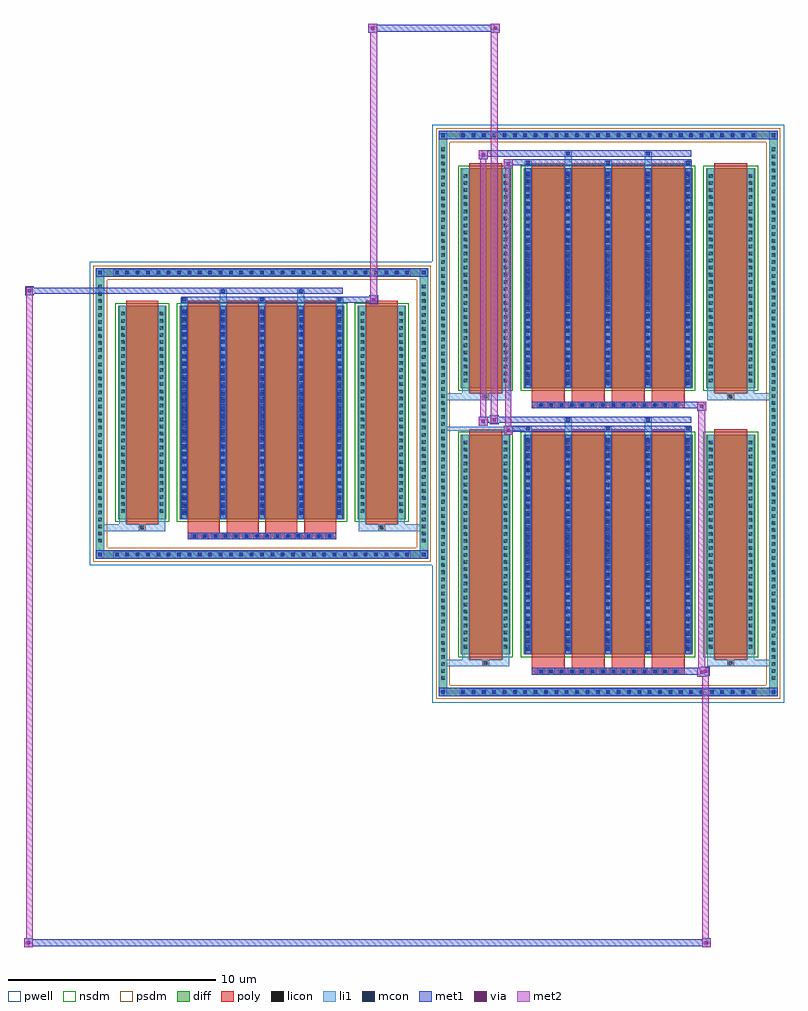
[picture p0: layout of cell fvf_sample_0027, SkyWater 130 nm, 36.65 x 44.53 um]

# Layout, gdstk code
import gdstk
lib = gdstk.Library(unit=1e-6, precision=1e-09)
def R(c, l, rs):  # rectangles x0, y0, x1, y1
    for r in rs: c.add(gdstk.rectangle(r[:2], r[2:], *l))
def A(c, l, x, y, w, h, nx, ny, dx, dy):  # array of equal rectangles
    R(c, l, [(x+i*dx, y+j*dy, x+i*dx+w, y+j*dy+h) for i in range(nx) for j in range(ny)])
def P(c, l, *ps):  # polygons
    for p in ps: c.add(gdstk.Polygon(p, *l))
pwell = (64, 44)
diff = (65, 20)
poly = (66, 20)
licon = (66, 44)
li1 = (67, 20)
mcon = (67, 44)
met1 = (68, 20)
via = (68, 44)
met2 = (69, 20)
nsdm = (93, 44)
psdm = (94, 20)

fvf_sample_0027 = lib.new_cell('fvf_sample_0027')
R(fvf_sample_0027, pwell, [(8.217,-13.94,25.175,13.94), (-8.317,-7.318,8.317,7.318)])
A(fvf_sample_0027, diff, 9.491, -13.63, 0.41, 0.41, 29, 2, 0.5, 26.85)
A(fvf_sample_0027, diff, 8.527, -12.955, 0.41, 0.41, 1, 76, 0, 0.34)
A(fvf_sample_0027, diff, 24.455, -12.955, 0.41, 0.41, 1, 76, 0, 0.34)
A(fvf_sample_0027, diff, -7.205, -7.008, 0.41, 0.41, 29, 2, 0.5, 13.606)
A(fvf_sample_0027, diff, -8.007, -6.325, 0.41, 0.41, 1, 37, 0, 0.34)
A(fvf_sample_0027, diff, 7.597, -6.325, 0.41, 0.41, 1, 37, 0, 0.34)
R(fvf_sample_0027, diff, [(9.491,-13.63,23.901,-13.22), (8.527,-12.955,8.937,12.955), (24.455,-12.955,24.865,12.955), (9.597,-11.609,11.975,-1.015), (12.615,-11.609,20.777,-1.015), (21.417,-11.609,23.795,-1.015), (-7.205,-7.008,7.205,-6.598), (-8.007,-6.325,-7.597,6.325), (7.597,-6.325,8.007,6.325), (-6.937,-5.087,-4.613,5.203), (-3.973,-5.087,3.973,5.203), (4.613,-5.087,6.937,5.203), (9.597,1.231,11.975,11.825), (12.615,1.231,20.777,11.825), (21.417,1.231,23.795,11.825), (-7.205,6.598,7.205,7.008), (9.491,13.22,23.901,13.63)])
P(fvf_sample_0027, diff, [(8.007,7.008),(-8.007,7.008),(-8.007,-6.598),(-7.597,-6.598),(-7.597,6.598),(7.597,6.598),(7.597,-6.598),(-7.597,-6.598),(-8.007,-6.598),(-8.007,-7.008),(8.007,-7.008)],
  [(24.865,13.63),(8.527,13.63),(8.527,-13.22),(8.937,-13.22),(8.937,13.22),(24.455,13.22),(24.455,-13.22),(8.937,-13.22),(8.527,-13.22),(8.527,-13.63),(24.865,-13.63)])
A(fvf_sample_0027, poly, 13.281, -12.59, 0.33, 0.33, 14, 2, 0.5, 12.84)
A(fvf_sample_0027, poly, 13.005, -12.26, 1.598, 0.401, 4, 2, 1.928, 12.84)
A(fvf_sample_0027, poly, 13.005, -11.859, 1.598, 11.094, 4, 2, 1.928, 12.84)
A(fvf_sample_0027, poly, -3.415, -6.068, 0.33, 0.33, 14, 1, 0.5, 0)
A(fvf_sample_0027, poly, -3.583, -5.738, 1.544, 0.401, 4, 1, 1.874, 0)
A(fvf_sample_0027, poly, -3.583, -5.337, 1.544, 10.79, 4, 1, 1.874, 0)
R(fvf_sample_0027, poly, [(13.005,-12.59,20.387,-12.26), (10.621,-12.189,10.951,-11.859), (10.621,-12.189,10.951,-11.859), (22.441,-12.189,22.771,-11.859), (22.441,-12.189,22.771,-11.859), (9.987,-11.859,11.585,-0.765), (21.807,-11.859,23.405,-0.765), (-3.583,-6.068,3.583,-5.738), (-5.94,-5.667,-5.61,-5.337), (-5.94,-5.667,-5.61,-5.337), (5.61,-5.667,5.94,-5.337), (5.61,-5.667,5.94,-5.337), (-6.547,-5.337,-5.003,5.453), (5.003,-5.337,6.547,5.453), (13.005,0.25,20.387,0.58), (10.621,0.651,10.951,0.981), (10.621,0.651,10.951,0.981), (22.441,0.651,22.771,0.981), (22.441,0.651,22.771,0.981), (9.987,0.981,11.585,12.075), (21.807,0.981,23.405,12.075)])
A(fvf_sample_0027, licon, 9.611, -13.51, 0.17, 0.17, 29, 2, 0.5, 26.85)
A(fvf_sample_0027, licon, 8.647, -12.835, 0.17, 0.17, 1, 76, 0, 0.34)
A(fvf_sample_0027, licon, 24.575, -12.835, 0.17, 0.17, 1, 76, 0, 0.34)
A(fvf_sample_0027, licon, 13.361, -12.51, 0.17, 0.17, 14, 2, 0.5, 12.84)
A(fvf_sample_0027, licon, 9.737, -11.327, 0.17, 0.17, 1, 30, 0, 0.34)
A(fvf_sample_0027, licon, 11.665, -11.327, 0.17, 0.17, 1, 30, 0, 0.34)
A(fvf_sample_0027, licon, 12.755, -11.327, 0.17, 0.17, 5, 30, 1.928, 0.34)
A(fvf_sample_0027, licon, 21.557, -11.327, 0.17, 0.17, 1, 30, 0, 0.34)
A(fvf_sample_0027, licon, 23.485, -11.327, 0.17, 0.17, 1, 30, 0, 0.34)
A(fvf_sample_0027, licon, -7.085, -6.888, 0.17, 0.17, 29, 2, 0.5, 13.606)
A(fvf_sample_0027, licon, -7.887, -6.205, 0.17, 0.17, 1, 37, 0, 0.34)
A(fvf_sample_0027, licon, 7.717, -6.205, 0.17, 0.17, 1, 37, 0, 0.34)
A(fvf_sample_0027, licon, -3.335, -5.988, 0.17, 0.17, 14, 1, 0.5, 0)
A(fvf_sample_0027, licon, -6.797, -4.787, 0.17, 0.17, 1, 29, 0, 0.34)
A(fvf_sample_0027, licon, -4.923, -4.787, 0.17, 0.17, 1, 29, 0, 0.34)
A(fvf_sample_0027, licon, -3.833, -4.787, 0.17, 0.17, 5, 29, 1.874, 0.34)
A(fvf_sample_0027, licon, 4.753, -4.787, 0.17, 0.17, 1, 29, 0, 0.34)
A(fvf_sample_0027, licon, 6.627, -4.787, 0.17, 0.17, 1, 29, 0, 0.34)
A(fvf_sample_0027, licon, 9.737, 1.513, 0.17, 0.17, 1, 30, 0, 0.34)
A(fvf_sample_0027, licon, 11.665, 1.513, 0.17, 0.17, 1, 30, 0, 0.34)
A(fvf_sample_0027, licon, 12.755, 1.513, 0.17, 0.17, 5, 30, 1.928, 0.34)
A(fvf_sample_0027, licon, 21.557, 1.513, 0.17, 0.17, 1, 30, 0, 0.34)
A(fvf_sample_0027, licon, 23.485, 1.513, 0.17, 0.17, 1, 30, 0, 0.34)
R(fvf_sample_0027, licon, [(10.701,-12.109,10.871,-11.939), (22.521,-12.109,22.691,-11.939), (-5.86,-5.587,-5.69,-5.417), (5.69,-5.587,5.86,-5.417), (10.701,0.731,10.871,0.901), (22.521,0.731,22.691,0.901)])
A(fvf_sample_0027, li1, 9.531, -13.59, 0.33, 0.33, 29, 2, 0.5, 26.85)
A(fvf_sample_0027, li1, 8.567, -12.915, 0.33, 0.33, 1, 76, 0, 0.34)
A(fvf_sample_0027, li1, 24.495, -12.915, 0.33, 0.33, 1, 76, 0, 0.34)
A(fvf_sample_0027, li1, 13.281, -12.59, 0.33, 0.33, 14, 2, 0.5, 12.84)
A(fvf_sample_0027, li1, 12.675, -11.609, 0.33, 10.594, 5, 2, 1.928, 12.84)
A(fvf_sample_0027, li1, 12.755, -11.437, 0.17, 0.17, 5, 29, 1.928, 0.36)
A(fvf_sample_0027, li1, 12.755, -11.437, 0.17, 10.25, 5, 2, 1.928, 12.84)
A(fvf_sample_0027, li1, 9.657, -11.407, 0.33, 0.33, 1, 30, 0, 0.34)
A(fvf_sample_0027, li1, 11.585, -11.407, 0.33, 0.33, 1, 30, 0, 0.34)
A(fvf_sample_0027, li1, 12.675, -11.407, 0.33, 0.33, 5, 30, 1.928, 0.34)
A(fvf_sample_0027, li1, 21.477, -11.407, 0.33, 0.33, 1, 30, 0, 0.34)
A(fvf_sample_0027, li1, 23.405, -11.407, 0.33, 0.33, 1, 30, 0, 0.34)
A(fvf_sample_0027, li1, -7.165, -6.968, 0.33, 0.33, 29, 2, 0.5, 13.606)
A(fvf_sample_0027, li1, -7.967, -6.285, 0.33, 0.33, 1, 37, 0, 0.34)
A(fvf_sample_0027, li1, 7.637, -6.285, 0.33, 0.33, 1, 37, 0, 0.34)
A(fvf_sample_0027, li1, -3.415, -6.068, 0.33, 0.33, 14, 1, 0.5, 0)
A(fvf_sample_0027, li1, -3.913, -5.087, 0.33, 10.29, 5, 1, 1.874, 0)
A(fvf_sample_0027, li1, -3.833, -4.887, 0.17, 0.17, 5, 28, 1.874, 0.36)
A(fvf_sample_0027, li1, -3.833, -4.887, 0.17, 9.89, 5, 1, 1.874, 0)
A(fvf_sample_0027, li1, -6.877, -4.867, 0.33, 0.33, 1, 29, 0, 0.34)
A(fvf_sample_0027, li1, -5.003, -4.867, 0.33, 0.33, 1, 29, 0, 0.34)
A(fvf_sample_0027, li1, -3.913, -4.867, 0.33, 0.33, 5, 29, 1.874, 0.34)
A(fvf_sample_0027, li1, 4.673, -4.867, 0.33, 0.33, 1, 29, 0, 0.34)
A(fvf_sample_0027, li1, 6.547, -4.867, 0.33, 0.33, 1, 29, 0, 0.34)
A(fvf_sample_0027, li1, 12.675, -1.015, 0.33, 0.375, 3, 2, 3.856, 12.84)
A(fvf_sample_0027, li1, 12.755, -0.81, 0.17, 0.17, 3, 2, 3.856, 12.84)
A(fvf_sample_0027, li1, 12.755, 1.403, 0.17, 0.17, 5, 29, 1.928, 0.36)
A(fvf_sample_0027, li1, 9.657, 1.433, 0.33, 0.33, 1, 30, 0, 0.34)
A(fvf_sample_0027, li1, 11.585, 1.433, 0.33, 0.33, 1, 30, 0, 0.34)
A(fvf_sample_0027, li1, 12.675, 1.433, 0.33, 0.33, 5, 30, 1.928, 0.34)
A(fvf_sample_0027, li1, 21.477, 1.433, 0.33, 0.33, 1, 30, 0, 0.34)
A(fvf_sample_0027, li1, 23.405, 1.433, 0.33, 0.33, 1, 30, 0, 0.34)
A(fvf_sample_0027, li1, -3.913, 5.203, 0.33, 0.375, 3, 1, 3.748, 0)
A(fvf_sample_0027, li1, -3.833, 5.408, 0.17, 0.17, 3, 1, 3.748, 0)
R(fvf_sample_0027, li1, [(8.527,-13.63,8.937,-13.22), (24.455,-13.63,24.865,-13.22), (9.531,-13.59,23.861,-13.26), (8.647,-13.51,8.817,-13.34), (8.647,-13.51,8.817,-13.34), (24.575,-13.51,24.745,-13.34), (24.575,-13.51,24.745,-13.34), (8.527,-13.22,8.937,13.22), (24.455,-13.22,24.865,13.22), (8.527,-12.189,10.621,-11.859), (9.657,-12.189,9.987,-11.609), (9.657,-12.189,10.621,-11.859), (10.621,-12.189,10.951,-11.859), (10.951,-12.189,11.915,-11.859), (11.585,-12.189,11.915,-11.609), (21.477,-12.189,21.807,-11.609), (21.477,-12.189,22.441,-11.859), (22.441,-12.189,22.771,-11.859), (22.441,-12.189,24.865,-11.859), (22.771,-12.189,23.735,-11.859), (23.405,-12.189,23.735,-11.609), (9.657,-11.609,9.987,-1.015), (11.585,-11.609,11.915,-1.015), (21.477,-11.609,21.807,-1.015), (23.405,-11.609,23.735,-1.015), (-8.007,-7.008,-7.597,-6.598), (7.597,-7.008,8.007,-6.598), (-7.165,-6.968,7.165,-6.638), (-7.887,-6.888,-7.717,-6.718), (-7.887,-6.888,-7.717,-6.718), (7.717,-6.888,7.887,-6.718), (7.717,-6.888,7.887,-6.718), (-8.007,-6.598,-7.597,6.598), (7.597,-6.598,8.007,6.598), (-8.007,-5.667,-5.94,-5.337), (-6.877,-5.667,-5.94,-5.337), (-6.877,-5.667,-6.547,-5.087), (-5.94,-5.667,-5.61,-5.337), (-5.61,-5.667,-4.673,-5.337), (-5.003,-5.667,-4.673,-5.087), (4.673,-5.667,5.61,-5.337), (4.673,-5.667,5.003,-5.087), (5.61,-5.667,5.94,-5.337), (5.61,-5.667,8.007,-5.337), (5.94,-5.667,6.877,-5.337), (6.547,-5.667,6.877,-5.087), (-6.877,-5.087,-6.547,5.203), (-5.003,-5.087,-4.673,5.203), (4.673,-5.087,5.003,5.203), (6.547,-5.087,6.877,5.203), (14.603,-1.015,14.933,-0.21), (18.459,-1.015,18.789,-0.21), (12.695,-0.87,12.985,-0.58), (8.527,-0.825,12.695,-0.625), (12.755,-0.81,12.925,-0.64), (14.683,-0.38,14.853,-0.21), (18.539,-0.38,18.709,-0.21), (8.527,0.651,10.621,0.981), (9.657,0.651,9.987,1.231), (9.657,0.651,10.621,0.981), (10.621,0.651,10.951,0.981), (10.951,0.651,11.915,0.981), (11.585,0.651,11.915,1.231), (21.477,0.651,21.807,1.231), (21.477,0.651,22.441,0.981), (22.441,0.651,22.771,0.981), (22.441,0.651,24.865,0.981), (22.771,0.651,23.735,0.981), (23.405,0.651,23.735,1.231), (9.657,1.231,9.987,11.825), (11.585,1.231,11.915,11.825), (21.477,1.231,21.807,11.825), (23.405,1.231,23.735,11.825), (-2.039,5.203,-1.709,6.008), (1.709,5.203,2.039,6.008), (-1.959,5.838,-1.789,6.008), (1.789,5.838,1.959,6.008), (-8.007,6.598,-7.597,7.008), (7.597,6.598,8.007,7.008), (-7.165,6.638,7.165,6.968), (-7.887,6.718,-7.717,6.888), (-7.887,6.718,-7.717,6.888), (7.717,6.718,7.887,6.888), (7.717,6.718,7.887,6.888), (14.603,11.825,14.933,12.63), (18.459,11.825,18.789,12.63), (14.683,12.46,14.853,12.63), (18.539,12.46,18.709,12.63), (8.527,13.22,8.937,13.63), (24.455,13.22,24.865,13.63), (9.531,13.26,23.861,13.59), (8.647,13.34,8.817,13.51), (8.647,13.34,8.817,13.51), (24.575,13.34,24.745,13.51), (24.575,13.34,24.745,13.51)])
A(fvf_sample_0027, mcon, 9.611, -13.51, 0.17, 0.17, 29, 2, 0.5, 26.85)
A(fvf_sample_0027, mcon, 13.361, -12.51, 0.17, 0.17, 14, 2, 0.5, 12.84)
A(fvf_sample_0027, mcon, 12.755, -11.437, 0.17, 0.17, 5, 29, 1.928, 0.36)
A(fvf_sample_0027, mcon, -7.085, -6.888, 0.17, 0.17, 29, 2, 0.5, 13.606)
A(fvf_sample_0027, mcon, -3.335, -5.988, 0.17, 0.17, 14, 1, 0.5, 0)
A(fvf_sample_0027, mcon, -3.833, -4.887, 0.17, 0.17, 5, 28, 1.874, 0.36)
A(fvf_sample_0027, mcon, 12.755, -0.81, 0.17, 0.17, 3, 2, 3.856, 12.84)
A(fvf_sample_0027, mcon, 12.755, 1.403, 0.17, 0.17, 5, 29, 1.928, 0.36)
A(fvf_sample_0027, mcon, -3.833, 5.408, 0.17, 0.17, 3, 1, 3.748, 0)
R(fvf_sample_0027, mcon, [(8.647,-13.51,8.817,-13.34), (24.575,-13.51,24.745,-13.34), (-7.887,-6.888,-7.717,-6.718), (7.717,-6.888,7.887,-6.718), (12.755,-0.81,12.925,-0.64), (14.683,-0.38,14.853,-0.21), (18.539,-0.38,18.709,-0.21), (-1.959,5.838,-1.789,6.008), (1.789,5.838,1.959,6.008), (-7.887,6.718,-7.717,6.888), (7.717,6.718,7.887,6.888), (14.683,12.46,14.853,12.63), (18.539,12.46,18.709,12.63), (8.647,13.34,8.817,13.51), (24.575,13.34,24.745,13.51)])
A(fvf_sample_0027, met1, 9.551, -13.57, 0.29, 0.29, 29, 2, 0.5, 26.85)
A(fvf_sample_0027, met1, 13.301, -12.57, 0.29, 0.29, 14, 2, 0.5, 12.84)
A(fvf_sample_0027, met1, 12.695, -11.609, 0.29, 10.594, 5, 2, 1.928, 12.84)
A(fvf_sample_0027, met1, 12.695, -11.497, 0.29, 0.29, 5, 29, 1.928, 0.36)
A(fvf_sample_0027, met1, -7.145, -6.948, 0.29, 0.29, 29, 2, 0.5, 13.606)
A(fvf_sample_0027, met1, -3.395, -6.048, 0.29, 0.29, 14, 1, 0.5, 0)
A(fvf_sample_0027, met1, -3.893, -5.087, 0.29, 10.29, 5, 1, 1.874, 0)
A(fvf_sample_0027, met1, -3.893, -4.947, 0.29, 0.29, 5, 28, 1.874, 0.36)
A(fvf_sample_0027, met1, 12.695, -0.87, 0.29, 0.29, 3, 2, 3.856, 12.84)
A(fvf_sample_0027, met1, 12.695, 1.343, 0.29, 0.29, 5, 29, 1.928, 0.36)
A(fvf_sample_0027, met1, -3.893, 5.348, 0.29, 0.29, 3, 1, 3.748, 0)
R(fvf_sample_0027, met1, [(-11.476,-25.732,-11.046,-25.302), (21.222,-25.732,21.652,-25.302), (-11.476,-25.682,21.652,-25.352), (-11.476,-25.352,-11.046,-25.302), (21.222,-25.352,21.652,-25.302), (8.527,-13.63,8.937,-13.22), (8.527,-13.63,8.937,-13.22), (8.937,-13.63,24.455,-13.22), (24.455,-13.63,24.865,-13.22), (24.455,-13.63,24.865,-13.22), (8.587,-13.57,8.877,-13.28), (24.515,-13.57,24.805,-13.28), (20.987,-12.69,21.417,-12.26), (21.172,-12.64,21.602,-12.21), (13.005,-12.59,20.387,-12.26), (20.387,-12.59,21.172,-12.26), (20.387,-12.59,21.417,-12.26), (-8.007,-7.008,-7.597,-6.598), (-8.007,-7.008,-7.597,-6.598), (-7.597,-7.008,7.597,-6.598), (7.597,-7.008,8.007,-6.598), (7.597,-7.008,8.007,-6.598), (-7.947,-6.948,-7.657,-6.658), (7.657,-6.948,7.947,-6.658), (-3.583,-6.068,3.583,-5.738), (11.665,-1.01,12.095,-0.58), (11.665,-0.87,12.695,-0.58), (12.695,-0.87,12.985,-0.58), (12.695,-0.87,20.697,-0.58), (10.465,-0.58,10.895,-0.15), (10.98,-0.51,11.41,-0.08), (10.465,-0.44,12.695,-0.15), (11.41,-0.44,12.695,-0.15), (12.695,-0.44,20.697,-0.15), (14.623,-0.44,14.913,-0.15), (18.479,-0.44,18.769,-0.15), (20.987,0.15,21.417,0.58), (13.005,0.25,20.387,0.58), (20.387,0.25,21.417,0.58), (5.178,5.278,5.608,5.708), (-3.893,5.348,3.893,5.638), (3.893,5.348,5.178,5.638), (-11.426,5.708,-10.996,6.138), (-10.996,5.778,-3.893,6.068), (-3.893,5.778,3.893,6.068), (-2.019,5.778,-1.729,6.068), (1.729,5.778,2.019,6.068), (-8.007,6.598,-7.597,7.008), (-8.007,6.598,-7.597,7.008), (-7.597,6.598,7.597,7.008), (7.597,6.598,8.007,7.008), (7.597,6.598,8.007,7.008), (-7.947,6.658,-7.657,6.948), (7.657,6.658,7.947,6.948), (11.665,11.83,12.095,12.26), (11.665,11.97,12.695,12.26), (12.695,11.97,20.697,12.26), (10.465,12.26,10.895,12.69), (10.465,12.4,12.695,12.69), (12.695,12.4,20.697,12.69), (14.623,12.4,14.913,12.69), (18.479,12.4,18.769,12.69), (8.527,13.22,8.937,13.63), (8.527,13.22,8.937,13.63), (8.937,13.22,24.455,13.63), (24.455,13.22,24.865,13.63), (24.455,13.22,24.865,13.63), (8.587,13.28,8.877,13.57), (24.515,13.28,24.805,13.57), (5.128,18.37,5.558,18.8), (11.03,18.37,11.46,18.8), (5.128,18.42,11.46,18.75), (5.128,18.75,5.558,18.8), (11.03,18.75,11.46,18.8)])
R(fvf_sample_0027, via, [(-11.336,-25.592,-11.186,-25.442), (21.362,-25.592,21.512,-25.442), (21.127,-12.55,21.277,-12.4), (21.312,-12.5,21.462,-12.35), (11.805,-0.87,11.955,-0.72), (10.605,-0.44,10.755,-0.29), (11.12,-0.37,11.27,-0.22), (21.127,0.29,21.277,0.44), (5.318,5.418,5.468,5.568), (-11.286,5.848,-11.136,5.998), (11.805,11.97,11.955,12.12), (10.605,12.4,10.755,12.55), (5.268,18.51,5.418,18.66), (11.17,18.51,11.32,18.66)])
R(fvf_sample_0027, met2, [(-11.476,-25.732,-11.046,-25.302), (-11.376,-25.732,-11.046,5.758), (21.222,-25.732,21.652,-25.302), (21.222,-25.732,21.552,-12.59), (-11.426,-25.682,-11.096,-25.352), (21.272,-25.682,21.602,-25.352), (20.987,-12.69,21.417,-12.26), (21.037,-12.69,21.367,0.58), (21.367,-12.69,21.417,-12.26), (21.037,-12.64,21.367,-12.31), (21.222,-12.59,21.552,-12.26), (11.665,-1.01,12.095,-0.58), (11.735,-1.01,12.025,12.26), (12.025,-1.01,12.095,-0.58), (11.715,-0.96,12.045,-0.63), (10.465,-0.58,10.895,-0.15), (10.535,-0.58,10.825,12.69), (10.825,-0.58,10.895,-0.15), (10.515,-0.53,10.845,-0.2), (11.03,-0.46,11.36,-0.13), (11.03,-0.13,11.36,18.8), (20.987,0.15,21.417,0.58), (21.367,0.15,21.417,0.58), (21.037,0.2,21.367,0.53), (5.228,5.328,5.558,5.658), (5.228,5.658,5.558,18.8), (-11.376,5.758,-11.046,6.088), (11.665,11.83,12.095,12.26), (12.025,11.83,12.095,12.26), (11.715,11.88,12.045,12.21), (10.465,12.26,10.895,12.69), (10.825,12.26,10.895,12.69), (10.515,12.31,10.845,12.64), (5.128,18.37,5.558,18.8), (11.03,18.37,11.46,18.8), (5.178,18.42,5.508,18.75), (11.08,18.42,11.41,18.75)])
R(fvf_sample_0027, nsdm, [(9.467,-11.739,12.105,-0.885), (12.485,-11.739,20.907,-0.885), (21.287,-11.739,23.925,-0.885), (-7.067,-5.217,-4.483,5.333), (-4.103,-5.217,4.103,5.333), (4.483,-5.217,7.067,5.333), (9.467,1.101,12.105,11.955), (12.485,1.101,20.907,11.955), (21.287,1.101,23.925,11.955)])
P(fvf_sample_0027, psdm, [(8.137,7.138),(-8.137,7.138),(-8.137,-6.468),(-7.467,-6.468),(-7.467,6.468),(7.467,6.468),(7.467,-6.468),(-7.467,-6.468),(-8.137,-6.468),(-8.137,-7.138),(8.137,-7.138)],
  [(24.995,13.76),(8.397,13.76),(8.397,-13.09),(9.067,-13.09),(9.067,13.09),(24.325,13.09),(24.325,-13.09),(9.067,-13.09),(8.397,-13.09),(8.397,-13.76),(24.995,-13.76)])

lib.write_gds('fvf_sample_0027.gds')
